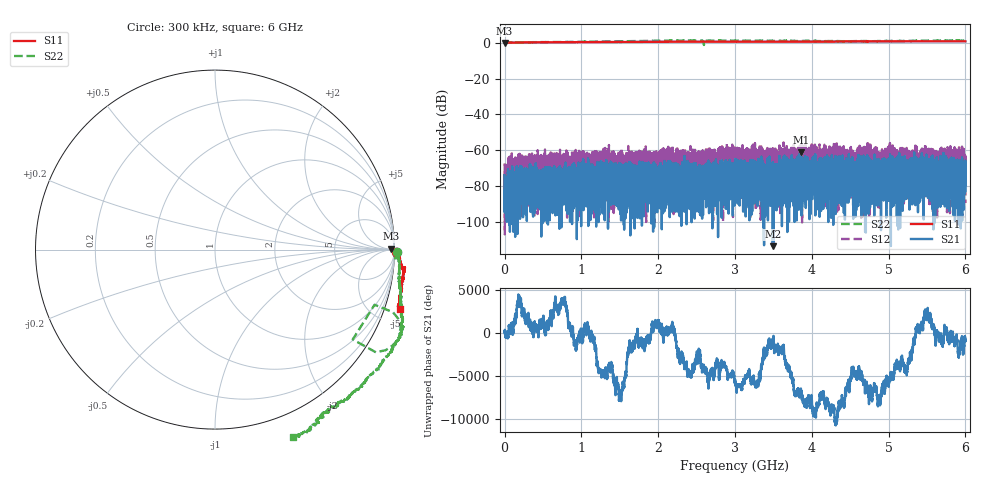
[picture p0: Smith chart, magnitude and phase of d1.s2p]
!Agilent Technologies,N5230C,SG49000117,A.08.50.07
!Agilent N5230C: A.08.50.07
!Date: Thursday, May 16, 2024 18:05:36
!Correction: S11(Full 2 Port(1,2))
!S21(Full 2 Port(1,2))
!S12(Full 2 Port(1,2))
!S22(Full 2 Port(1,2))
!S2P File: Measurements: S11, S21, S12, S22:
# Hz S  MA  R 50
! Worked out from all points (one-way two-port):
!   20001 points, 300 kHz to 6 GHz, reference 50 ohm
!   highest |S21| = -60.95 dB at 3.855 GHz (marker M1); lowest = -113.3 dB at 3.492 GHz (marker M2)
!   lowest |S11| = -0.1 dB at 600 kHz (marker M3), VSWR 117.22, Z = 5.31e+03 + j1.71e+03 ohm
!   |S11| at or under -10 dB: nowhere
!   |S22| runs from -1.3 to 1.2 dB; largest |S21 - S12| = 0.0019
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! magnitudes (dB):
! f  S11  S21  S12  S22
! 300 kHz  0.1  -73.8  -67.3  0.1
! 600 kHz  -0.1  -78.1  -74.3  -0.3
! 30.9 MHz  0.0  -82.9  -81.4  0.0
! 166.2 MHz  0.0  -74.8  -70.4  0.1
! 474.6 MHz  0.2  -87.3  -68.4  0.3
! 1 GHz  0.3  -72.3  -65.1  0.4
! 2 GHz  0.5  -87.7  -64.0  1.0
! 2.136 GHz  0.5  -76.7  -82.5  1.1
! 2.272 GHz  0.5  -75.8  -69.0  1.1
! 2.537 GHz  0.5  -79.3  -64.2  1.1
! 3 GHz  0.5  -68.3  -65.3  1.1
! 3.492 GHz  0.5  -113.3  -69.8  0.9
! 3.855 GHz  0.5  -61.0  -65.4  0.9
! 4 GHz  0.5  -79.2  -77.1  0.9
! 5 GHz  0.7  -69.7  -75.3  0.9
! 5.389 GHz  0.7  -81.0  -66.3  1.0
! 5.503 GHz  0.7  -73.3  -68.5  1.0
! 5.596 GHz  0.7  -78.1  -64.2  1.1
! 5.84 GHz  0.7  -73.8  -62.9  1.1
! 5.9 GHz  0.7  -74.0  -72.9  1.1
! 5.969 GHz  0.7  -69.8  -69.7  1.1
! 6 GHz  0.7  -71.9  -89.3  1.1
